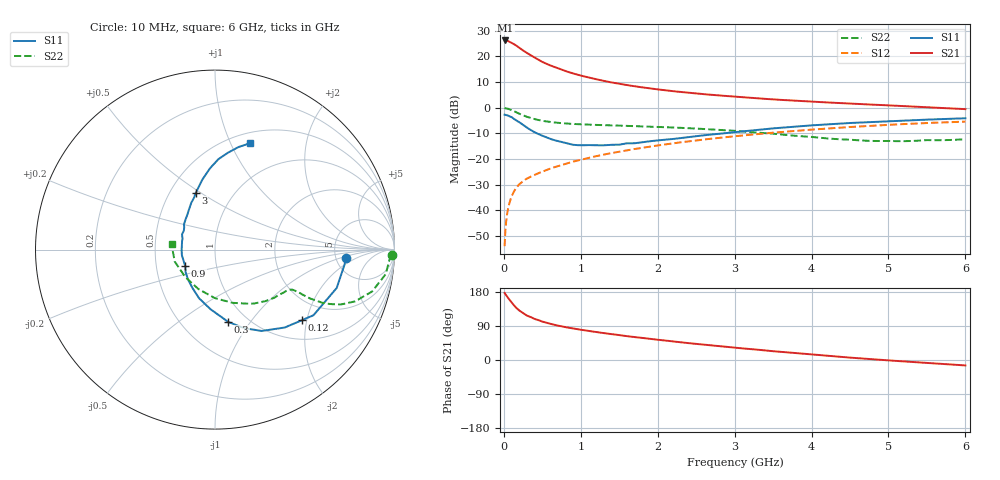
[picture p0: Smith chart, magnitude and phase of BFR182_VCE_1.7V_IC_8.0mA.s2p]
! Infineon Technologies  Discrete & RF Semiconductors
! BFR182
! VCE =  1.7 V,  IC =  8.0 mA
! Common Emitter S-Parameters:  Nov 2015
# GHz  S  MA  R  50
!  f  S11  S21  S12  S22
! GHz  MAG  ANG  MAG  ANG  MAG  ANG  MAG  ANG
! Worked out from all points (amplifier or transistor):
!   210 points, 10 MHz to 6 GHz, reference 50 ohm
!   highest |S21| = 26.2 dB at 20 MHz (marker M1)
!   |S21| within 3 dB of that: start of sweep to 208.3 MHz
!   unconditionally stable (mu >= 1): 820.2 MHz to 2.727 GHz
!   at 185 MHz: K = 0.45, MSG = 27.0 dB, |S12| = -30.4 dB
!   at 1.52 GHz: K = 1.06, MAG = 11.7 dB, |S12| = -17.0 dB
!   at 6 GHz: K = 0.89, MSG = 2.4 dB, |S12| = -5.4 dB
!   S11 on the Smith chart (normalised r, x): 10 MHz: 6.20, -1.26; 120 MHz: 1.46, -1.87; 300 MHz: 0.82, -0.79; 900 MHz: 0.70, -0.13; 3 GHz: 0.67, +0.48; 6 GHz: 0.61, +1.19
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0.01  0.7321 -3.7  20.47 177.0  0.002 87.2  0.9843 -1.7
0.02  0.726 -6.8  20.5 173.7  0.0041 89.2  0.9734 -3.4
0.05  0.711 -17.5  20.14 165.0  0.0099 82.4  0.9609 -8.2
0.1  0.6593 -33.7  18.55 151.8  0.0186 75.6  0.9052 -15.0
0.12  0.6242 -39.0  17.73 147.2  0.0215 72.6  0.8749 -17.0
0.15  0.583 -48.1  16.73 139.5  0.026 69.4  0.8317 -20.3
0.2  0.5224 -60.2  14.82 130.7  0.0321 66.5  0.766 -23.5
0.26  0.4532 -71.7  12.79 122.1  0.0378 64.1  0.7023 -25.5
0.3  0.409 -79.7  11.66 117.2  0.0415 64.3  0.6651 -26.4
0.4  0.3326 -94.4  9.468 108.4  0.0491 63.5  0.5975 -27.2
0.5  0.2851 -108.2  7.824 101.3  0.0567 63.9  0.5556 -27.2
0.6  0.2475 -120.6  6.715 95.7  0.0652 64.4  0.5283 -27.1
0.7  0.2248 -131.9  5.876 90.8  0.0723 65.3  0.5081 -27.2
0.9  0.1896 -151.1  4.653 83.0  0.089 65.8  0.4827 -27.5
1.02  0.1855 -163.4  4.166 79.2  0.0984 66.1  0.4734 -28.1
1.4  0.1895 166.4  3.111 68.2  0.1307 65.4  0.453 -31.6
2.02  0.2325 135.6  2.261 53.1  0.1857 62.3  0.423 -39.7
3  0.3337 108.7  1.644 32.4  0.278 54.1  0.3552 -58.1
3.1  0.3455 106.8  1.603 30.7  0.2875 52.9  0.3451 -60.6
4.1  0.4629 92.4  1.293 13.1  0.3832 42.0  0.2606 -94.3
5.1  0.553 81.2  1.094 -2.4  0.4727 29.6  0.2232 -142.9
6  0.6238 71.8  0.939 -14.4  0.5358 17.0  0.2437 173.3
